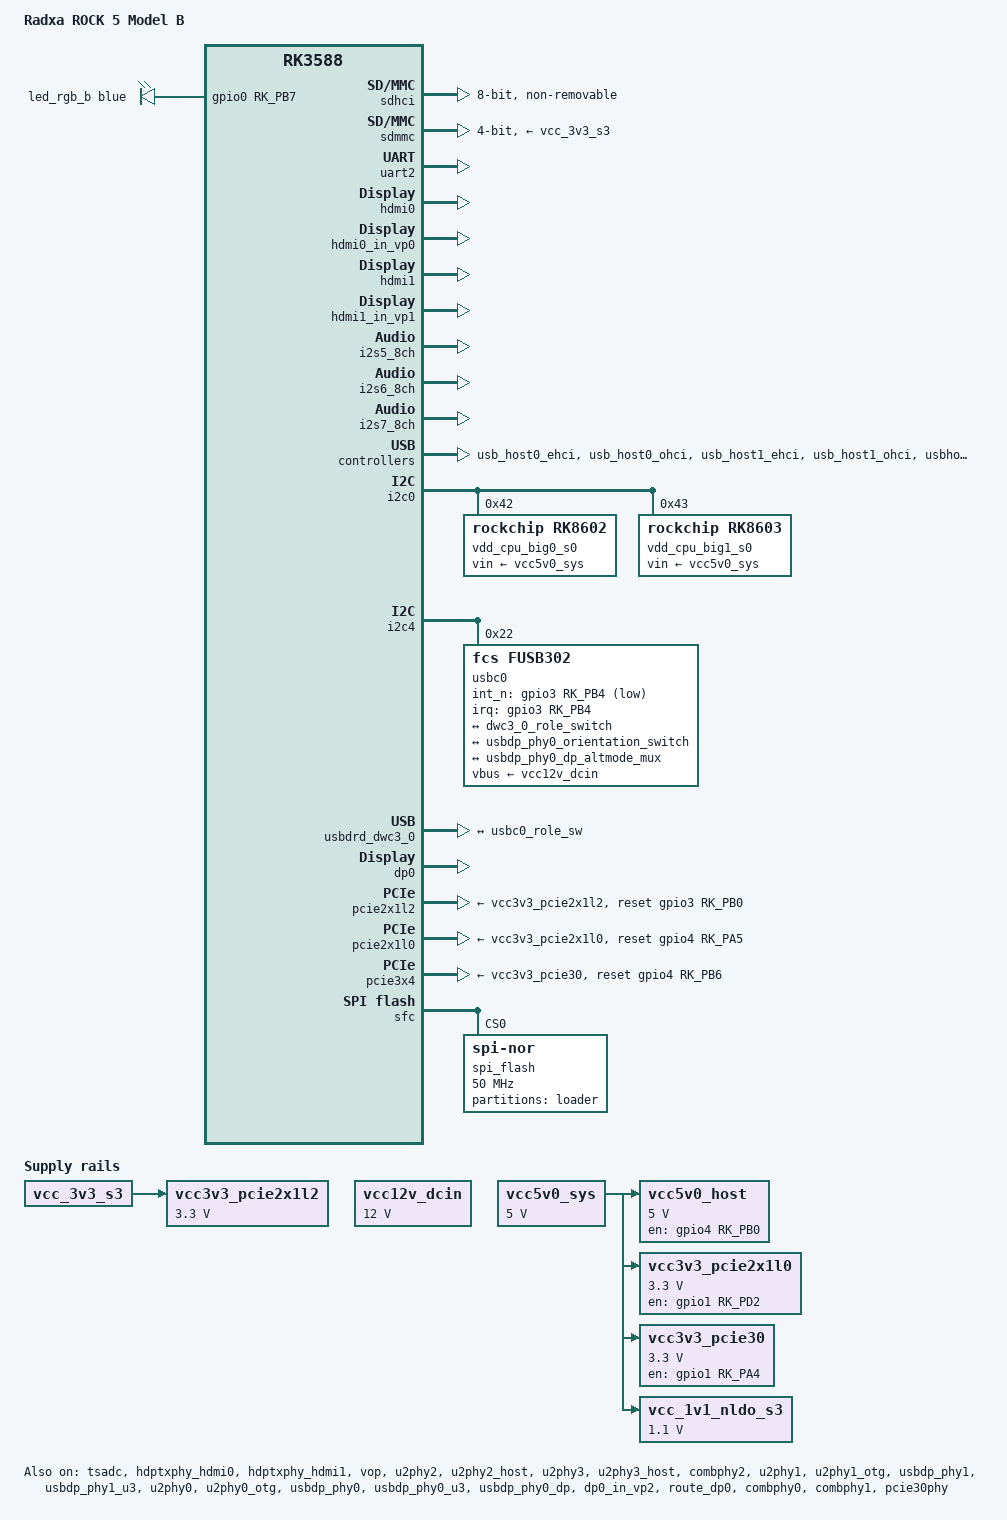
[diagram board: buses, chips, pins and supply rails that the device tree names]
// SPDX-License-Identifier: (GPL-2.0+ OR MIT)

/dts-v1/;

#include <dt-bindings/usb/pd.h>
#include <dt-bindings/gpio/gpio.h>
#include <dt-bindings/leds/common.h>
#include <dt-bindings/display/rockchip_vop.h>
#include "rk3588.dtsi"
#include "rk3588-rk806-single.dtsi"

/ {
	model = "Radxa ROCK 5 Model B";
	compatible = "radxa,rock-5b", "rockchip,rk3588";

	aliases {
		//mmc1 = &sdhci;
		serial2 = &uart2;
	};

	chosen {
		stdout-path = "serial2:1500000n8";
	};

	reserved-memory {
		#address-cells = <2>;
		#size-cells = <2>;
		ranges;

		cma {
			compatible = "shared-dma-pool";
			reusable;
			size = <0x0 (256 * 0x100000)>;
			alloc-ranges = <0x0 0x0 0x1 0x0>;
			linux,cma-default;
		};

		ramoops: ramoops@110000 {
			compatible = "ramoops";
			reg = <0x0 0x110000 0x0 0xf0000>;
			record-size = <0x20000>;
			console-size = <0x80000>;
			ftrace-size = <0x00000>;
			pmsg-size = <0x50000>;
		};
	};

	vcc12v_dcin: vcc12v-dcin-regulator {
		compatible = "regulator-fixed";
		regulator-name = "vcc12v_dcin";
		regulator-always-on;
		regulator-boot-on;
		regulator-min-microvolt = <12000000>;
		regulator-max-microvolt = <12000000>;
	};

	vcc5v0_sys: vcc5v0-sys-regulator {
		compatible = "regulator-fixed";
		regulator-name = "vcc5v0_sys";
		regulator-always-on;
		regulator-boot-on;
		regulator-min-microvolt = <5000000>;
		regulator-max-microvolt = <5000000>;
	};

	vcc5v0_host: vcc5v0-host-regulator {
		compatible = "regulator-fixed";
		regulator-name = "vcc5v0_host";
		regulator-boot-on;
		regulator-always-on;
		regulator-min-microvolt = <5000000>;
		regulator-max-microvolt = <5000000>;
		enable-active-high;
		gpio = <&gpio4 RK_PB0 GPIO_ACTIVE_HIGH>;
		pinctrl-names = "default";
		pinctrl-0 = <&vcc5v0_host_en>;
		vin-supply = <&vcc5v0_sys>;
	};

	vcc3v3_pcie2x1l2: vcc3v3-pcie2x1l2 {
		compatible = "regulator-fixed";
		regulator-name = "vcc3v3_pcie2x1l2";
		regulator-min-microvolt = <3300000>;
		regulator-max-microvolt = <3300000>;
		startup-delay-us = <5000>;
		vin-supply = <&vcc_3v3_s3>;
	};

	vcc3v3_pcie2x1l0: vcc3v3-pcie2x1l0 {
		compatible = "regulator-fixed";
		regulator-name = "vcc3v3_pcie2x1l0";
		regulator-min-microvolt = <3300000>;
		regulator-max-microvolt = <3300000>;
		enable-active-high;
		regulator-boot-on;
		regulator-always-on;
		gpios = <&gpio1 RK_PD2 GPIO_ACTIVE_HIGH>;
		startup-delay-us = <50000>;
		vin-supply = <&vcc5v0_sys>;
	};

	vcc3v3_pcie30: vcc3v3-pcie30 {
		compatible = "regulator-fixed";
		regulator-name = "vcc3v3_pcie30";
		regulator-min-microvolt = <3300000>;
		regulator-max-microvolt = <3300000>;
		enable-active-high;
		gpios = <&gpio1 RK_PA4 GPIO_ACTIVE_HIGH>;
		startup-delay-us = <5000>;
		vin-supply = <&vcc5v0_sys>;
	};

	vcc_1v1_nldo_s3: vcc-1v1-nldo-s3 {
		compatible = "regulator-fixed";
		regulator-name = "vcc_1v1_nldo_s3";
		regulator-always-on;
		regulator-boot-on;
		regulator-min-microvolt = <1100000>;
		regulator-max-microvolt = <1100000>;
		vin-supply = <&vcc5v0_sys>;
	};

	hdmi0_sound: hdmi0-sound {
		status = "okay";
		compatible = "rockchip,hdmi";
		rockchip,mclk-fs = <128>;
		rockchip,card-name = "rockchip-hdmi0";
		rockchip,cpu = <&i2s5_8ch>;
		rockchip,codec = <&hdmi0>;
		rockchip,jack-det;
	};

	hdmi1_sound: hdmi1-sound {
		status = "okay";
		compatible = "rockchip,hdmi";
		rockchip,mclk-fs = <128>;
		rockchip,card-name = "rockchip-hdmi1";
		rockchip,cpu = <&i2s6_8ch>;
		rockchip,codec = <&hdmi1>;
		rockchip,jack-det;
	};
/*
	es8316_sound: es8316-sound {
		status = "okay";
		compatible = "simple-audio-card";
		simple-audio-card,format = "i2s";
		simple-audio-card,mclk-fs = <256>;
		simple-audio-card,name = "rockchip-es8316";
		simple-audio-card,dai-link@0 {
			format = "i2s";
			cpu {
				sound-dai = <&i2s0_8ch>;
			};
			codec {
				sound-dai = <&es8316>;
			};
		};
	};

	rk_headset: rk-headset {
		status = "okay";
		compatible = "rockchip_headset";
		headset_gpio = <&gpio1 RK_PD5 GPIO_ACTIVE_HIGH>;
		pinctrl-names = "default";
		pinctrl-0 = <&hp_det>;
		io-channels = <&saradc 3>;
	};
*/
	leds {
		compatible = "gpio-leds";
		pinctrl-names = "default";
		pinctrl-0 = <&led_rgb_b>;

		led_rgb_b {
			function = LED_FUNCTION_STATUS;
			color = <LED_COLOR_ID_BLUE>;
			gpios = <&gpio0 RK_PB7 GPIO_ACTIVE_HIGH>;
			linux,default-trigger = "heartbeat";
		};
	};
};

&cpu_l0 {
	cpu-supply = <&vdd_cpu_lit_s0>;
	mem-supply = <&vdd_cpu_lit_mem_s0>;
};

&cpu_b0 {
	cpu-supply = <&vdd_cpu_big0_s0>;
	mem-supply = <&vdd_cpu_big0_mem_s0>;
};

&cpu_b2 {
	cpu-supply = <&vdd_cpu_big1_s0>;
	mem-supply = <&vdd_cpu_big1_mem_s0>;
};

&sdhci {
	bus-width = <8>;
	no-sdio;
	no-sd;
	non-removable;
	max-frequency = <200000000>;
	mmc-hs400-1_8v;
	mmc-hs400-enhanced-strobe;
	status = "okay";
};

&sdmmc {
	max-frequency = <200000000>;
	no-sdio;
	no-mmc;
	bus-width = <4>;
	cap-mmc-highspeed;
	cap-sd-highspeed;
	disable-wp;
	sd-uhs-sdr104;
	vmmc-supply = <&vcc_3v3_s3>;
	vqmmc-supply = <&vccio_sd_s0>;
	pinctrl-names = "default";
	pinctrl-0 = <&sdmmc_bus4 &sdmmc_clk &sdmmc_cmd &sdmmc_det>;
	status = "okay";
};

&uart2 {
	pinctrl-0 = <&uart2m0_xfer>;
	status = "okay";
};

&tsadc {
	status = "okay";
};

&hdptxphy_hdmi_clk0 {
	status = "okay";
};

&hdptxphy_hdmi_clk1 {
	status = "okay";
};

&display_subsystem {
	clocks = <&hdptxphy_hdmi_clk0>, <&hdptxphy_hdmi_clk1>;
	clock-names = "hdmi0_phy_pll", "hdmi1_phy_pll";

	route {
		route_hdmi0: route-hdmi0 {
			status = "okay";
			logo,uboot = "logo.bmp";
			logo,kernel = "logo_kernel.bmp";
			logo,mode = "center";
			charge_logo,mode = "center";
			connect = <&vp0_out_hdmi0>;
		};

		route_edp0: route-edp0 {
			status = "disabled";
			logo,uboot = "logo.bmp";
			logo,kernel = "logo_kernel.bmp";
			logo,mode = "center";
			charge_logo,mode = "center";
			connect = <&vp0_out_edp0>;
		};

		route_hdmi1: route-hdmi1 {
			status = "okay";
			logo,uboot = "logo.bmp";
			logo,kernel = "logo_kernel.bmp";
			logo,mode = "center";
			charge_logo,mode = "center";
			connect = <&vp1_out_hdmi1>;
		};

		route_edp1: route-edp1 {
			status = "disabled";
			logo,uboot = "logo.bmp";
			logo,kernel = "logo_kernel.bmp";
			logo,mode = "center";
			charge_logo,mode = "center";
			connect = <&vp1_out_edp1>;
		};
	};
};

&hdmi0 {
	status = "okay";
};

&hdmi0_in_vp0 {
	status = "okay";
};

&hdmi0_in_vp1 {
	status = "disabled";
};

&hdmi0_in_vp2 {
	status = "disabled";
};

&hdmi0_sound {
	status = "okay";
};

&hdptxphy_hdmi0 {
	status = "okay";
};

&edp0 {
	status = "disabled";
};

&edp0_in_vp0 {
	status = "disabled";
};

&edp0_in_vp1 {
	status = "disabled";
};

&edp0_in_vp2 {
	status = "disabled";
};

&hdptxphy0 {
	status = "disabled";
};

&hdmi1 {
	status = "okay";
	pinctrl-names = "default";
	pinctrl-0 = <&hdmim0_tx1_cec &hdmim0_tx1_hpd &hdmim1_tx1_scl &hdmim1_tx1_sda>;
};

&hdmi1_in_vp0 {
	status = "disabled";
};

&hdmi1_in_vp1 {
	status = "okay";
};

&hdmi1_in_vp2 {
	status = "disabled";
};

&hdmi1_sound {
	status = "okay";
};

&hdptxphy_hdmi1 {
	status = "okay";
};

&edp1 {
	status = "disabled";
	pinctrl-names = "default";
	pinctrl-0 = <&hdmim0_tx1_cec &hdmim0_tx1_hpd &hdmim1_tx1_scl &hdmim1_tx1_sda>;
};

&edp1_in_vp0 {
	status = "disabled";
};

&edp1_in_vp1 {
	status = "disabled";
};

&edp1_in_vp2 {
	status = "disabled";
};

&hdptxphy1 {
	status = "disabled";
};

&i2s5_8ch {
	status = "okay";
};

&i2s6_8ch {
	status = "okay";
};

&i2s7_8ch {
	status = "okay";
};

&vop {
	status = "okay";
};

&vop_mmu {
	status = "disabled"; // broken for now - vop can work without it
};

/* vp0 & vp1 splice for 8K output */
&vp0 {
	rockchip,plane-mask = <(1 << ROCKCHIP_VOP2_CLUSTER0 | 1 << ROCKCHIP_VOP2_ESMART0)>;
	rockchip,primary-plane = <ROCKCHIP_VOP2_ESMART0>;
};

&vp1 {
	rockchip,plane-mask = <(1 << ROCKCHIP_VOP2_CLUSTER1 | 1 << ROCKCHIP_VOP2_ESMART1)>;
	rockchip,primary-plane = <ROCKCHIP_VOP2_ESMART1>;
};

&vp2 {
	rockchip,plane-mask = <(1 << ROCKCHIP_VOP2_CLUSTER2 | 1 << ROCKCHIP_VOP2_ESMART2)>;
	rockchip,primary-plane = <ROCKCHIP_VOP2_ESMART2>;
};

&vp3 {
	rockchip,plane-mask = <(1 << ROCKCHIP_VOP2_CLUSTER3 | 1 << ROCKCHIP_VOP2_ESMART3)>;
	rockchip,primary-plane = <ROCKCHIP_VOP2_ESMART3>;
};

&u2phy2 {
	status = "okay";
};

&u2phy2_host {
	status = "okay";
};

&u2phy3 {
	status = "okay";
};

&u2phy3_host {
	status = "okay";
};

&usb_host0_ehci {
	status = "okay";
};

&usb_host0_ohci {
	status = "okay";
};

&usb_host1_ehci {
	status = "okay";
};

&usb_host1_ohci {
	status = "okay";
};

&usbhost3_0 {
	status = "okay";
};

&usbhost_dwc3_0 {
	status = "okay";
};

&combphy2 {
	status = "okay";
};

&u2phy1 {
	status = "okay";
};

&u2phy1_otg {
	status = "okay";
};

&usbdrd3_1{
	status = "okay";
};

&usbdrd_dwc3_1{
	status = "okay";
};

&usbdp_phy1 {
	status = "okay";
};

&usbdp_phy1_u3 {
	status = "okay";
};

&i2c0 {
	status = "okay";
	pinctrl-names = "default";
	pinctrl-0 = <&i2c0m2_xfer>;

	vdd_cpu_big0_s0: vdd_cpu_big0_mem_s0: rk8602@42 {
		compatible = "rockchip,rk8602";
		reg = <0x42>;
		vin-supply = <&vcc5v0_sys>;
		regulator-compatible = "rk860x-reg";
		regulator-name = "vdd_cpu_big0_s0";
		regulator-min-microvolt = <550000>;
		regulator-max-microvolt = <1050000>;
		regulator-ramp-delay = <2300>;
		rockchip,suspend-voltage-selector = <1>;
		regulator-boot-on;
		regulator-always-on;
		regulator-state-mem {
			regulator-off-in-suspend;
		};
	};

	vdd_cpu_big1_s0: vdd_cpu_big1_mem_s0: rk8603@43 {
		compatible = "rockchip,rk8603";
		reg = <0x43>;
		vin-supply = <&vcc5v0_sys>;
		regulator-compatible = "rk860x-reg";
		regulator-name = "vdd_cpu_big1_s0";
		regulator-min-microvolt = <550000>;
		regulator-max-microvolt = <1050000>;
		regulator-ramp-delay = <2300>;
		rockchip,suspend-voltage-selector = <1>;
		regulator-boot-on;
		regulator-always-on;
		regulator-state-mem {
			regulator-off-in-suspend;
		};
	};
};

&i2c4 {
	status = "okay";
	pinctrl-names = "default";
	pinctrl-0 = <&i2c4m1_xfer>;

	usbc0: fusb302@22 {
		compatible = "fcs,fusb302";
		reg = <0x22>;
		interrupt-parent = <&gpio3>;
		interrupts = <RK_PB4 IRQ_TYPE_LEVEL_LOW>;
		fcs,int_n = <&gpio3 RK_PB4 GPIO_ACTIVE_LOW>;
		pinctrl-names = "default";
		pinctrl-0 = <&usbc0_int>;
		vbus-supply = <&vcc12v_dcin>;
		status = "okay";

		ports {
			#address-cells = <1>;
			#size-cells = <0>;

			port@0 {
				reg = <0>;
				usbc0_role_sw: endpoint@0 {
					remote-endpoint = <&dwc3_0_role_switch>;
				};
			};
		};

		usb_con: connector {
			compatible = "usb-c-connector";
			label = "USB-C";
			data-role = "dual";
			power-role = "sink";
			try-power-role = "sink";
			op-sink-microwatt = <1000000>;
			sink-pdos = <PDO_FIXED(5000, 3000, PDO_FIXED_USB_COMM)
				 PDO_VAR(5000, 20000, 5000)>;

			altmodes {
				#address-cells = <1>;
				#size-cells = <0>;

				altmode@0 {
					reg = <0>;
					svid = <0xff01>;
					vdo = <0xffffffff>;
				};
			};

			ports {
				#address-cells = <1>;
				#size-cells = <0>;

				port@0 {
					reg = <0>;
					usbc0_orien_sw: endpoint {
						remote-endpoint = <&usbdp_phy0_orientation_switch>;
					};
				};

				port@1 {
					reg = <1>;
					dp_altmode_mux: endpoint {
						remote-endpoint = <&usbdp_phy0_dp_altmode_mux>;
					};
				};
			};
		};
	};
};

&u2phy0 {
	status = "okay";
};

&u2phy0_otg {
	rockchip,typec-vbus-det;
	status = "okay";
};

&usbdrd3_0 {
	status = "okay";
};

&usbdrd_dwc3_0 {
	status = "okay";
	port {
		#address-cells = <1>;
		#size-cells = <0>;
		dwc3_0_role_switch: endpoint@0 {
			reg = <0>;
			remote-endpoint = <&usbc0_role_sw>;
		};
	};
};

&usbdp_phy0 {
	status = "okay";
	orientation-switch;
	svid = <0xff01>;
	sbu1-dc-gpios = <&gpio4 RK_PA6 GPIO_ACTIVE_HIGH>;
	sbu2-dc-gpios = <&gpio4 RK_PA7 GPIO_ACTIVE_HIGH>;

	port {
		#address-cells = <1>;
		#size-cells = <0>;
		usbdp_phy0_orientation_switch: endpoint@0 {
			reg = <0>;
			remote-endpoint = <&usbc0_orien_sw>;
		};

		usbdp_phy0_dp_altmode_mux: endpoint@1 {
			reg = <1>;
			remote-endpoint = <&dp_altmode_mux>;
		};
	};
};

&usbdp_phy0_u3 {
	status = "okay";
};

&usbdp_phy0_dp {
	status = "okay";
};

&dp0 {
	status = "okay";
};

&dp0_in_vp2 {
	status = "okay";
};

&route_dp0 {
	status = "okay";
	connect = <&vp2_out_dp0>;
};

&combphy0 {
	status = "okay";
};


&pcie2x1l2 {
	reset-gpios = <&gpio3 RK_PB0 GPIO_ACTIVE_HIGH>;
	vpcie3v3-supply = <&vcc3v3_pcie2x1l2>;
	status = "okay";
};

&pcie2x1l0 {
	reset-gpios = <&gpio4 RK_PA5 GPIO_ACTIVE_HIGH>;
	vpcie3v3-supply = <&vcc3v3_pcie2x1l0>;
	status = "okay";
};

&combphy1 {
	status = "okay";
};

&pcie30phy {
	status = "okay";
};

&pcie3x4 {
	reset-gpios = <&gpio4 RK_PB6 GPIO_ACTIVE_HIGH>;
	vpcie3v3-supply = <&vcc3v3_pcie30>;
	status = "okay";
};

&sfc {
	status = "okay";
	max-freq = <50000000>;
	#address-cells = <1>;
	#size-cells = <0>;
	pinctrl-names = "default";
	pinctrl-0 = <&fspim2_pins>;

	spi_flash: spi-flash@0 {
		#address-cells = <1>;
		#size-cells = <0>;
		compatible = "jedec,spi-nor";
		reg = <0x0>;
		spi-max-frequency = <50000000>;
		spi-tx-bus-width = <1>;
		spi-rx-bus-width = <4>;
		status = "okay";

		partitions {
			compatible = "fixed-partitions";
			#address-cells = <1>;
			#size-cells = <1>;

			loader@0 {
				label = "loader";
				reg = <0x0 0x1000000>;
			};
		};
	};
};

&pinctrl {
	leds {
		led_rgb_b: led-rgb-b {
			rockchip,pins = <0 RK_PB7 RK_FUNC_GPIO &pcfg_pull_none>;
		};
	};

	usb {
		vcc5v0_host_en: vcc5v0-host-en {
			rockchip,pins = <4 RK_PB0 RK_FUNC_GPIO &pcfg_pull_none>;
		};

		vcc5v0_otg_en: vcc5v0-otg-en {
			rockchip,pins = <2 RK_PC5 RK_FUNC_GPIO &pcfg_pull_none>;
		};
	};

	usb-typec {
		usbc0_int: usbc0-int {
			rockchip,pins = <3 RK_PB4 RK_FUNC_GPIO &pcfg_pull_up>;
		};
	};

	hym8563 {
		rtc_int: rtc-int {
			rockchip,pins = <0 RK_PB0 RK_FUNC_GPIO &pcfg_pull_none>;
		};
	};

	headphone {
		hp_det: hp-det {
			rockchip,pins = <1 RK_PD5 RK_FUNC_GPIO &pcfg_pull_up>;
		};
	};

	hdmirx {
		hdmirx_det: hdmirx-det {
			rockchip,pins = <1 RK_PC6 RK_FUNC_GPIO &pcfg_pull_none>;
		};
	};

	sdio-pwrseq {
		wifi_enable_h: wifi-enable-h {
			rockchip,pins = <0 RK_PC4 RK_FUNC_GPIO &pcfg_pull_none>;
		};
	};

	wireless-wlan {
		wifi_host_wake_irq: wifi-host-wake-irq {
			rockchip,pins = <0 RK_PB2 RK_FUNC_GPIO &pcfg_pull_down>;
		};
	};

	wireless-bluetooth {
		uart6_gpios: uart6-gpios {
			rockchip,pins = <1 RK_PA2 RK_FUNC_GPIO &pcfg_pull_none>;
		};
	};
};
